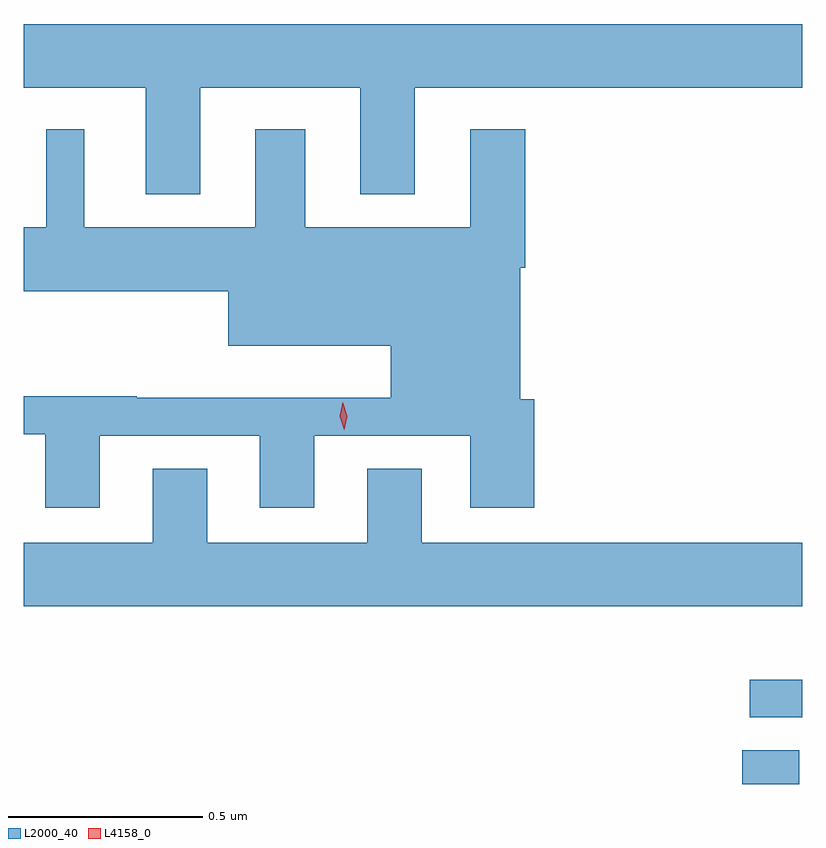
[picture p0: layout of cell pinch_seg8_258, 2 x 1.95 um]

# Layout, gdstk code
import gdstk
lib = gdstk.Library(unit=1e-6, precision=1e-09)
def R(c, l, rs):  # rectangles x0, y0, x1, y1
    for r in rs: c.add(gdstk.rectangle(r[:2], r[2:], *l))
def P(c, l, *ps):  # polygons
    for p in ps: c.add(gdstk.Polygon(p, *l))
L2000_40 = (2000, 40)
L4158_0 = (4158, 0)

pinch_seg8_258 = lib.new_cell('pinch_seg8_258')
R(pinch_seg8_258, L2000_40, [(768.08,1120.04,768.226,1120.127), (768.099,1120.212,768.234,1120.308)])
P(pinch_seg8_258, L2000_40, [(766.687,1121.828),(767.099,1121.828),(767.099,1121.555),(767.239,1121.555),(767.239,1121.828),(768.234,1121.828),(768.234,1121.992),(766.234,1121.992),(766.234,1121.828),(766.547,1121.828),(766.547,1121.555),(766.687,1121.555)],
  [(766.429,1120.935),(766.841,1120.935),(766.841,1120.749),(766.981,1120.749),(766.981,1120.935),(767.381,1120.935),(767.381,1120.749),(767.546,1120.749),(767.546,1121.028),(767.509,1121.028),(767.509,1121.366),(767.522,1121.366),(767.522,1121.722),(767.381,1121.722),(767.381,1121.47),(766.957,1121.47),(766.957,1121.722),(766.829,1121.722),(766.829,1121.47),(766.39,1121.47),(766.39,1121.722),(766.292,1121.722),(766.292,1121.47),(766.234,1121.47),(766.234,1121.306),(766.76,1121.306),(766.76,1121.165),(767.177,1121.165),(767.177,1121.032),(766.525,1121.032),(766.525,1121.036),(766.234,1121.036),(766.234,1120.938),(766.289,1120.938),(766.289,1120.749),(766.429,1120.749)],
  [(768.234,1120.66),(767.257,1120.66),(767.257,1120.85),(767.117,1120.85),(767.117,1120.66),(766.705,1120.66),(766.705,1120.85),(766.565,1120.85),(766.565,1120.66),(766.234,1120.66),(766.234,1120.496),(768.234,1120.496)])
P(pinch_seg8_258, L4158_0, [(767.057,1120.95),(767.057,1120.95),(767.046,1120.984),(767.054,1121.02),(767.054,1121.02),(767.054,1121.02),(767.065,1120.985),(767.057,1120.95)])

lib.write_gds('pinch_seg8_258.gds')
